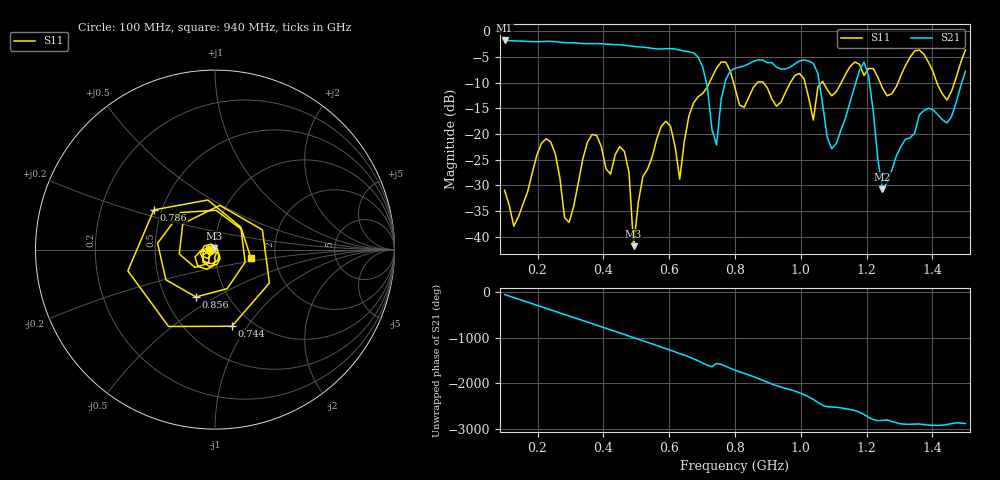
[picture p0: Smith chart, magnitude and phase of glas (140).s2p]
! NanoVNA-App
! Date: 2025-09-25 15:56:34
! Start: 100MHz Stop: 1,5GHz Points: 101
! S-Parameter data: F S11 S21 S12 S22
# Hz S RI R 50
!  Frequency  S11_Real  S11_Imag  S21_Real  S21_Imag  S12_Real  S12_Imag  S22_Real  S22_Imag
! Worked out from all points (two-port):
!   101 points, 100 MHz to 1.5 GHz, reference 50 ohm
!   highest |S21| = -1.80 dB at 100 MHz (marker M1); lowest = -30.8 dB at 1.248 GHz (marker M2)
!   |S21| within 3 dB of the highest: start of sweep to 684.1 MHz
!   lowest |S11| = -41.8 dB at 492 MHz (marker M3), VSWR 1.02, Z = 49.5 + j0.611 ohm
!   |S11| at or under -10 dB: start of sweep to 722.4 MHz; 795.4 MHz to 868.2 MHz (72.8 MHz wide, 8.75 % of centre); 885.9 MHz to 968.2 MHz (82.3 MHz wide, 8.88 % of centre) (the widest 3 of 7)
!   S12 and S22 are empty: the file has one direction only
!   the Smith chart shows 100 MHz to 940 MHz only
!   S11 on the Smith chart (normalised r, x): 100 MHz: 0.95, -0.01; 744 MHz: 0.81, -0.85; 786 MHz: 0.45, +0.24; 856 MHz: 0.71, -0.41; 940 MHz: 1.49, -0.14
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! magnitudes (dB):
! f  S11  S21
! 100 MHz  -31.0  -1.8
! 128 MHz  -37.9  -1.9
! 226 MHz  -20.9  -2.0
! 296 MHz  -37.2  -2.2
! 338 MHz  -24.8  -2.4
! 464 MHz  -23.4  -2.7
! 492 MHz  -41.8  -3.0
! 576 MHz  -18.5  -3.5
! 632 MHz  -28.8  -3.7
! 702 MHz  -12.1  -7.0
! 744 MHz  -7.2  -22.1
! 786 MHz  -7.8  -7.7
! 800 MHz  -11.1  -7.2
! 856 MHz  -10.9  -5.9
! 940 MHz  -13.8  -7.4
! 1.038 GHz  -17.3  -6.3
! 1.094 GHz  -12.6  -22.9
! 1.192 GHz  -8.6  -6.0
! 1.248 GHz  -11.1  -30.8
! 1.276 GHz  -12.2  -27.1
! 1.444 GHz  -13.4  -17.9
! 1.5 GHz  -3.6  -7.8
